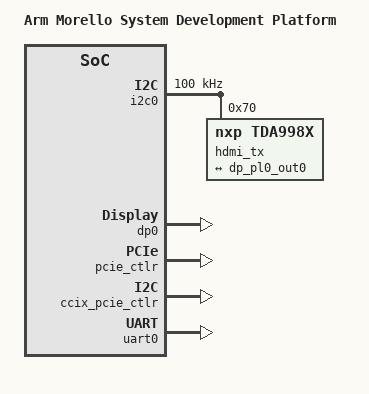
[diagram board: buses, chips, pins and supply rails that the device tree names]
// SPDX-License-Identifier: (GPL-2.0 OR BSD-3-Clause)
/*
 * Copyright (c) 2021-2024, Arm Limited. All rights reserved.
 */

/dts-v1/;
#include "morello.dtsi"

/ {
	model = "Arm Morello System Development Platform";
	compatible = "arm,morello-sdp", "arm,morello";

	aliases {
		serial0 = &uart0;
	};

	chosen {
		stdout-path = "serial0:115200n8";
	};

	dpu_aclk: clock-350000000 {
		/* 77.1 MHz derived from 24 MHz reference clock */
		compatible = "fixed-clock";
		#clock-cells = <0>;
		clock-frequency = <350000000>;
		clock-output-names = "aclk";
	};

	dpu_pixel_clk: clock-148500000 {
		compatible = "fixed-clock";
		#clock-cells = <0>;
		clock-frequency = <148500000>;
		clock-output-names = "pxclk";
	};

	i2c0: i2c@1c0f0000 {
		compatible = "cdns,i2c-r1p14";
		reg = <0x0 0x1c0f0000 0x0 0x1000>;
		interrupts = <GIC_SPI 138 IRQ_TYPE_LEVEL_HIGH>;
		clocks = <&dpu_aclk>;

		#address-cells = <1>;
		#size-cells = <0>;

		clock-frequency = <100000>;

		hdmi_tx: hdmi-transmitter@70 {
			compatible = "nxp,tda998x";
			reg = <0x70>;
			video-ports = <0x234501>;
			port {
				tda998x_0_input: endpoint {
					remote-endpoint = <&dp_pl0_out0>;
				};
			};
		};
	};

	dp0: display@2cc00000 {
		compatible = "arm,mali-d32", "arm,mali-d71";
		reg = <0x0 0x2cc00000 0x0 0x20000>;
		interrupts = <0 69 4>;
		clocks = <&dpu_aclk>;
		clock-names = "aclk";
		iommus = <&smmu_dp 0>, <&smmu_dp 1>, <&smmu_dp 2>, <&smmu_dp 3>,
			 <&smmu_dp 8>;

		#address-cells = <1>;
		#size-cells = <0>;

		pl0: pipeline@0 {
			reg = <0>;
			clocks = <&dpu_pixel_clk>;
			clock-names = "pxclk";
			port {
				dp_pl0_out0: endpoint {
					remote-endpoint = <&tda998x_0_input>;
				};
			};
		};
	};

	smmu_ccix: iommu@4f000000 {
		compatible = "arm,smmu-v3";
		reg = <0x0 0x4f000000 0x0 0x40000>;

		interrupts = <GIC_SPI 228 IRQ_TYPE_EDGE_RISING>,
					<GIC_SPI 230 IRQ_TYPE_EDGE_RISING>,
					<GIC_SPI 41 IRQ_TYPE_EDGE_RISING>,
					<GIC_SPI 229 IRQ_TYPE_EDGE_RISING>;
		interrupt-names = "eventq", "gerror", "priq", "cmdq-sync";
		msi-parent = <&its1 0>;
		#iommu-cells = <1>;
		dma-coherent;
	};

	smmu_pcie: iommu@4f400000 {
		compatible = "arm,smmu-v3";
		reg = <0x0 0x4f400000 0x0 0x40000>;

		interrupts = <GIC_SPI 235 IRQ_TYPE_EDGE_RISING>,
					<GIC_SPI 237 IRQ_TYPE_EDGE_RISING>,
					<GIC_SPI 40 IRQ_TYPE_EDGE_RISING>,
					<GIC_SPI 236 IRQ_TYPE_EDGE_RISING>;
		interrupt-names = "eventq", "gerror", "priq", "cmdq-sync";
		msi-parent = <&its2 0>;
		#iommu-cells = <1>;
		dma-coherent;
	};

	pcie_ctlr: pcie@28c0000000 {
		device_type = "pci";
		compatible = "pci-host-ecam-generic";
		reg = <0x28 0xC0000000 0 0x10000000>;
		ranges = <0x01000000 0x00 0x00000000 0x00 0x6f000000 0x00 0x00800000>,
				<0x02000000 0x00 0x60000000 0x00 0x60000000 0x00 0x0f000000>,
				<0x42000000 0x09 0x00000000 0x09 0x00000000 0x1f 0xc0000000>;
		bus-range = <0 255>;
		linux,pci-domain = <0>;
		#address-cells = <3>;
		#size-cells = <2>;
		dma-coherent;
		#interrupt-cells = <1>;
		interrupt-map-mask = <0 0 0 7>;
		interrupt-map = <0 0 0 1 &gic 0 0 0 169 IRQ_TYPE_LEVEL_HIGH>,
				<0 0 0 2 &gic 0 0 0 170 IRQ_TYPE_LEVEL_HIGH>,
				<0 0 0 3 &gic 0 0 0 171 IRQ_TYPE_LEVEL_HIGH>,
				<0 0 0 4 &gic 0 0 0 172 IRQ_TYPE_LEVEL_HIGH>;
		msi-map = <0 &its_pcie 0 0x10000>;
		iommu-map = <0 &smmu_pcie 0 0x10000>;
	};

	ccix_pcie_ctlr: pcie@4fc0000000 {
		device_type = "pci";
		compatible = "pci-host-ecam-generic";
		reg = <0x4f 0xC0000000 0 0x10000000>;
		ranges = <0x01000000 0x00 0x00000000 0x00 0x7f000000 0x00 0x00800000>,
				<0x02000000 0x00 0x70000000 0x00 0x70000000 0x00 0x0f000000>,
				<0x42000000 0x30 0x00000000 0x30 0x00000000 0x1f 0xc0000000>;
		linux,pci-domain = <1>;
		#address-cells = <3>;
		#size-cells = <2>;
		dma-coherent;
		#interrupt-cells = <1>;
		interrupt-map-mask = <0 0 0 7>;
		interrupt-map = <0 0 0 1 &gic 0 0 0 201 IRQ_TYPE_LEVEL_HIGH>,
				<0 0 0 2 &gic 0 0 0 202 IRQ_TYPE_LEVEL_HIGH>,
				<0 0 0 3 &gic 0 0 0 203 IRQ_TYPE_LEVEL_HIGH>,
				<0 0 0 4 &gic 0 0 0 204 IRQ_TYPE_LEVEL_HIGH>;
		msi-map = <0 &its_ccix 0 0x10000>;
		iommu-map = <0 &smmu_ccix 0 0x10000>;
	};
};

&uart0 {
	status = "okay";
};
